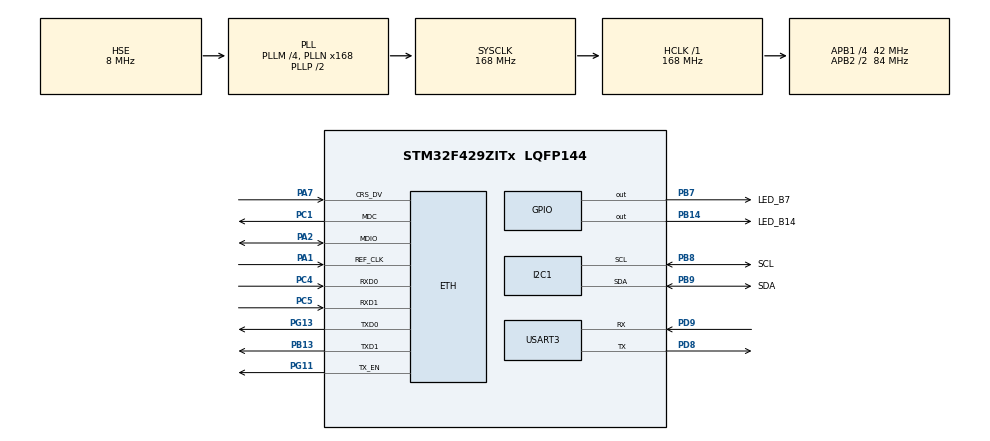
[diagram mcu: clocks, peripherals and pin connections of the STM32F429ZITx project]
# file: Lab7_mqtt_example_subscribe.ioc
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ETH.MACAddr=00\:80\:E1\:CD\:06\:AE
ETH.MediaInterface=HAL_ETH_RMII_MODE
FREERTOS.Tasks01=defaultTask,24,128,StartDefaultTask,Default,NULL,Dynamic,NULL,NULL
FREERTOS.configTOTAL_HEAP_SIZE=25360
I2C1.I2C_Mode=I2C_Fast
LWIP.BSP.number=1
LWIP.MEMP_NUM_SYS_TIMEOUT=13
LWIP.MEM_SIZE=10*1024
LWIP.Version=v2.1.2_Cube
LWIP0.BSP.STBoard=false
LWIP0.BSP.api=BSP_COMPONENT_DRIVER
LWIP0.BSP.component=LAN8742
LWIP0.BSP.instance=LAN8742
LWIP0.BSP.name=Driver_PHY
LWIP0.BSP.semaphore=S_LAN8742
LWIP0.BSP.solution=LAN8742
Mcu.Family=STM32F4
Mcu.Name=STM32F429ZITx
Mcu.Package=LQFP144
NVIC.ETH_IRQn=true\:5\:0\:false\:false\:true\:true\:false\:true\:true
NVIC.PriorityGroup=NVIC_PRIORITYGROUP_4
NVIC.TIM1_UP_TIM10_IRQn=true\:15\:0\:false\:false\:true\:false\:false\:true\:true
NVIC.TimeBase=TIM1_UP_TIM10_IRQn
NVIC.TimeBaseIP=TIM1
PA1.Mode=RMII
PA1.Signal=ETH_REF_CLK
PA13.Mode=Serial_Wire
PA13.Signal=SYS_JTMS-SWDIO
PA14.Mode=Serial_Wire
PA14.Signal=SYS_JTCK-SWCLK
PA2.Mode=RMII
PA2.Signal=ETH_MDIO
PA7.Mode=RMII
PA7.Signal=ETH_CRS_DV
PB13.Mode=RMII
PB13.Signal=ETH_TXD1
PB14.GPIO_Label=LED_B14
PB14.Signal=GPIO_Output
PB7.GPIO_Label=LED_B7
PB7.Signal=GPIO_Output
PB8.GPIO_Label=SCL
PB8.Mode=I2C
PB8.Signal=I2C1_SCL
PB9.GPIO_Label=SDA
PB9.Mode=I2C
PB9.Signal=I2C1_SDA
PC1.Mode=RMII
PC1.Signal=ETH_MDC
PC14/OSC32_IN.Mode=LSE-External-Oscillator
PC14/OSC32_IN.Signal=RCC_OSC32_IN
PC15/OSC32_OUT.Mode=LSE-External-Oscillator
PC15/OSC32_OUT.Signal=RCC_OSC32_OUT
PC4.Mode=RMII
PC4.Signal=ETH_RXD0
PC5.Mode=RMII
PC5.Signal=ETH_RXD1
PD8.Mode=Asynchronous
PD8.Signal=USART3_TX
PD9.Mode=Asynchronous
PD9.Signal=USART3_RX
PG11.Mode=RMII
PG11.Signal=ETH_TX_EN
PG13.Mode=RMII
PG13.Signal=ETH_TXD0
PH0/OSC_IN.Mode=HSE-External-Oscillator
PH0/OSC_IN.Signal=RCC_OSC_IN
PH1/OSC_OUT.Mode=HSE-External-Oscillator
PH1/OSC_OUT.Signal=RCC_OSC_OUT
ProjectManager.HeapSize=0x200
ProjectManager.StackSize=0x400
ProjectManager.TargetToolchain=MDK-ARM V5.32
RCC.48MHZClocksFreq_Value=48000000
RCC.AHBFreq_Value=168000000
RCC.APB1CLKDivider=RCC_HCLK_DIV4
RCC.APB1Freq_Value=42000000
RCC.APB1TimFreq_Value=84000000
RCC.APB2CLKDivider=RCC_HCLK_DIV2
RCC.APB2Freq_Value=84000000
RCC.APB2TimCLKDivider=2
RCC.APB2TimFreq_Value=168000000
RCC.CortexFreq_Value=168000000
RCC.HCLKFreq_Value=168000000
RCC.HSE_VALUE=8000000
RCC.HSI_VALUE=16000000
RCC.PLLM=4
RCC.PLLMUL=RCC_PLL_MUL9
RCC.PLLN=168
RCC.PLLQ=7
RCC.PLLSourceVirtual=RCC_PLLSOURCE_HSE
RCC.PRESCALERUSB=RCC_USBCLKSOURCE_PLL_DIV1_5
RCC.SYSCLKFreq_VALUE=168000000
RCC.SYSCLKSource=RCC_SYSCLKSOURCE_PLLCLK
RCC.SYSCLKSourceVirtual=RCC_SYSCLKSOURCE_PLLCLK
RCC.USBFreq_Value=48000000
RCC.VCOOutputFreq_Value=336000000
TIM2.Prescaler=83
USART3.VirtualMode=VM_ASYNC
VP_FREERTOS_VS_CMSIS_V2.Mode=CMSIS_V2
VP_LWIP_VS_Enabled.Mode=Enabled
VP_SYS_VS_tim1.Mode=TIM1
VP_TIM2_VS_ClockSourceINT.Mode=Internal
board=NUCLEO-F429ZI

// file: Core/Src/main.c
    /* USER CODE BEGIN Header */
/**
  ******************************************************************************
  * @file           : main.c
  * @brief          : Main program body
  ******************************************************************************
  * @attention
  *
  * Copyright (c) 2025 STMicroelectronics.
  * All rights reserved.
  *
  * This software is licensed under terms that can be found in the LICENSE file
  * in the root directory of this software component.
  * If no LICENSE file comes with this software, it is provided AS-IS.
  *
  ******************************************************************************
  */
/* USER CODE END Header */
#include "main.h"
#include "cmsis_os.h"
#include "i2c.h"
#include "lwip.h"
#include "tim.h"
#include "usart.h"
#include "gpio.h"

/* USER CODE BEGIN Includes */
#include "lwip/apps/mqtt.h"
#include "FreeRTOS.h"
#include "oled.h"
#include "queue.h"
#include "semphr.h"
#include "string.h"
#include "stdbool.h"
#include "task.h"
#include "u8g2.h"
/* USER CODE END Includes */

/* USER CODE BEGIN PTD */
typedef enum {
  TOPIC_TEMP = 0,
  TOPIC_HUMI = 1,
  TOPIC_LED = 2,
  TOPIC_UNKNOWN = 3
} TopicId_t;

typedef struct {
  char temp[10];
	char humi[10];
  char ledStatus[10];
} DisplayData_t;
/* USER CODE END PTD */

/* USER CODE BEGIN PV */
TopicId_t currentTopicId = TOPIC_UNKNOWN;
mqtt_client_t *mqttClient = NULL;

u8g2_t u8g2;
QueueHandle_t queueDisplayData;

SemaphoreHandle_t xSemMqttReconnect;
SemaphoreHandle_t xSemLED;
TaskHandle_t handleMQTT;
TaskHandle_t handleOLED;
TaskHandle_t handleLED;

DisplayData_t displayData = {
  .temp = "0",
	.humi = "0",
  .ledStatus = "Off"
};
/* USER CODE END PV */

void SystemClock_Config(void);
void MX_FREERTOS_Init(void);
/* USER CODE BEGIN PFP */
void mqtt_connection_cb(mqtt_client_t *client, void *arg, mqtt_connection_status_t status);
void mqtt_incoming_topic_cb(void *arg, const char *topic, u32_t tot_len);
void mqtt_incoming_data_cb(void *arg, const u8_t *data, u16_t len, u8_t flags);
void mqtt_sub_request_cb(void *arg, err_t result);

void taskMQTT(void *pvParameters);
void taskOLED(void *pvParameters);
void taskLED(void *pvParameters);
/* USER CODE END PFP */

/* USER CODE BEGIN 0 */

/*
 * MQTT Callback Functions
 */

 // Connection callback
void mqtt_connection_cb(mqtt_client_t *client, void *arg, mqtt_connection_status_t status){
  if (status == MQTT_CONNECT_ACCEPTED){
    HAL_GPIO_WritePin(LED_B7_GPIO_Port, LED_B7_Pin, GPIO_PIN_SET);
    printf("MQTT connected successfully!\r\n");

    mqtt_set_inpub_callback(client, mqtt_incoming_topic_cb, mqtt_incoming_data_cb, NULL);

    mqtt_subscribe(client, "Lab7/Temp", 0, NULL, NULL);
    mqtt_subscribe(client, "Lab7/Humi", 0, NULL, NULL);
    mqtt_subscribe(client, "Lab7/LED", 0, NULL, NULL);
  }else{
    HAL_GPIO_WritePin(LED_B7_GPIO_Port, LED_B7_Pin, GPIO_PIN_RESET);
    printf("MQTT connection failed! Error code: %d\r\n", status);

    xSemaphoreGive(xSemMqttReconnect);
  }
}

// Incoming topic callback
void mqtt_incoming_topic_cb(void *arg, const char *topic, u32_t tot_len) {
  printf("MQTT: Message received on topic: %s\r\n", topic);

  // Determine topic ID
  if (strcmp(topic, "Lab7/Temp") == 0) {
    currentTopicId = TOPIC_TEMP;
  } else if (strcmp(topic, "Lab7/Humi") == 0) {
    currentTopicId = TOPIC_HUMI;
  } else if (strcmp(topic, "Lab7/LED") == 0) {
    currentTopicId = TOPIC_LED;
  } else{
    currentTopicId = TOPIC_UNKNOWN;
  }
}

// Incoming data callback
void mqtt_incoming_data_cb(void *arg, const u8_t *data, u16_t len, u8_t flags){
  // Convert incoming data
  char receiveBuffer[len];
  memcpy(receiveBuffer, data, len);
  receiveBuffer[len] = '\0';

  printf("Received message: \"%s\"\r\n", receiveBuffer);

  // Data setting
  switch (currentTopicId){
    case TOPIC_TEMP:
      if (len <= sizeof(displayData.temp)){
        memcpy(displayData.temp, receiveBuffer, len);
        displayData.temp[len] = '\0';
      }
      break;

    case TOPIC_HUMI:
      if (len <= sizeof(displayData.humi)){
        memcpy(displayData.humi, receiveBuffer, len);
        displayData.humi[len] = '\0';

        xSemaphoreGive(xSemLED);
      }
      break;
		case TOPIC_LED:
			if (len <= sizeof(displayData.ledStatus)){
				memcpy(displayData.ledStatus, receiveBuffer, len);
				displayData.ledStatus[len] = '\0';

				xSemaphoreGive(xSemLED);
			}
      break;
    default:
      return;
  }

  xQueueSend(queueDisplayData, &displayData, NULL);
}

// Subscribe request callback
void mqtt_sub_request_cb(void *arg, err_t result){
  if (result != ERR_OK){
    printf("Subscribe result: %d\r\n", result);
  }
}

/*
 * FreeRTOS Task Functions
 */

// MQTT initial task
void taskMQTT(void *pvParameters){
  MX_LWIP_Init();

  mqttClient = mqtt_client_new();

  struct mqtt_connect_client_info_t mqtt_connect_info = {
    .client_id = "M11317045_B",
    .client_user = "raymiao",
    .client_pass = "548787",
    .keep_alive = 20,
    .will_topic = "Lab7/Last_will",
    .will_msg = "Goodbye client_B!",
    .will_qos = 0,
    .will_retain = 0
  };

	ip4_addr_t ip;
	ip = netif_default->ip_addr;
	printf("STM32 IP: %s\n", ip4addr_ntoa(&ip));

  ip_addr_t mqttBrokerAddr;
	IP_ADDR4(&mqttBrokerAddr, 140, 125, 33, 185);
  err_t connectResult;
  while(1){
    if (!mqtt_client_is_connected(mqttClient)){
      connectResult = mqtt_client_connect(mqttClient, &mqttBrokerAddr, MQTT_PORT,
                                               mqtt_connection_cb, NULL, &mqtt_connect_info);

      if (connectResult != ERR_OK){
        printf("MQTT connect returned error: %d\r\n", connectResult);
        if (connectResult == ERR_ISCONN) {
          mqtt_disconnect(mqttClient);
        }
      }
    } else{
      xSemaphoreTake(xSemMqttReconnect, portMAX_DELAY);
    }
    vTaskDelay(1000);
  }
}

// OLED display task
void taskOLED(void *pvParameters){

  u8g2_ClearBuffer(&u8g2);
  u8g2_ClearDisplay(&u8g2);
  u8g2_SetFont(&u8g2, u8g2_font_samim_12_t_all);

   u8g2_DrawStr(&u8g2, 15, 30, "Waiting...");
   u8g2_DrawStr(&u8g2, 15, 50, "MQTT Connect");
   u8g2_SendBuffer(&u8g2);
   printf("OLED Set okay");
  char displayTemp[20];
	char displayHumi[20];
  char displayLedStatus[20];

  while(1){
    xQueueReceive(queueDisplayData, &displayData, portMAX_DELAY);

    snprintf(displayTemp, sizeof(displayTemp), "Temp: %s", displayData.temp);
    snprintf(displayHumi, sizeof(displayHumi), "Humi: %s", displayData.humi);
    snprintf(displayLedStatus, sizeof(displayLedStatus), "LED: %s", displayData.ledStatus);
		if (strcmp(displayData.ledStatus, "On") == 0)
		{
			HAL_GPIO_WritePin(LED_B14_GPIO_Port, LED_B14_Pin, GPIO_PIN_SET);

		}
		else
		{
			HAL_GPIO_WritePin(LED_B14_GPIO_Port, LED_B14_Pin, GPIO_PIN_RESET);
		}

    u8g2_ClearBuffer(&u8g2);
    u8g2_DrawStr(&u8g2, 15, 30, displayTemp);
		u8g2_DrawStr(&u8g2, 15, 45, displayHumi);
    u8g2_DrawStr(&u8g2, 15, 60, displayLedStatus);
    u8g2_SendBuffer(&u8g2);
  }
}

// LED control task
void taskLED(void *pvParameters){
  HAL_GPIO_WritePin(LED_B14_GPIO_Port, LED_B14_Pin, GPIO_PIN_RESET);

  while(1){
    if (xSemaphoreTake(xSemLED, portMAX_DELAY) == pdTRUE){
      if (strcmp(displayData.ledStatus, "On") == 0) {
        HAL_GPIO_WritePin(LED_B14_GPIO_Port, LED_B14_Pin, GPIO_PIN_SET);
      } else if (strcmp(displayData.ledStatus, "Off") == 0){
        HAL_GPIO_WritePin(LED_B14_GPIO_Port, LED_B14_Pin, GPIO_PIN_RESET);
      }
    }
  }
}
/* USER CODE END 0 */

int main(void)
{

  /* MCU Configuration--------------------------------------------------------*/

  /* Reset of all peripherals, Initializes the Flash interface and the Systick. */
  HAL_Init();

  /* Configure the system clock */
  SystemClock_Config();

  /* Initialize all configured peripherals */
  MX_GPIO_Init();
  MX_USART3_UART_Init();
  MX_I2C1_Init();
  MX_TIM2_Init();
  /* USER CODE BEGIN 2 */
	HAL_GPIO_WritePin(LED_B14_GPIO_Port, LED_B14_Pin, GPIO_PIN_RESET);

	u8g2Init(&u8g2);

  xSemMqttReconnect = xSemaphoreCreateBinary();
  xSemLED = xSemaphoreCreateBinary();
  queueDisplayData = xQueueCreate(3, sizeof(DisplayData_t));

  xTaskCreate(taskMQTT, "MQTT", 1024, NULL, 3, &handleMQTT);
  xTaskCreate(taskOLED, "OLED", 256, NULL, 2, &handleOLED);
  xTaskCreate(taskLED, "LED", 256, NULL, 1, &handleLED);

   printf("B_StartScheduler \r\n");
   vTaskStartScheduler();
  /* USER CODE END 2 */

  /* Init scheduler */
  //osKernelInitialize();  /* Call init function for freertos objects (in freertos.c) */
  //MX_FREERTOS_Init();

  /* Start scheduler */
  //osKernelStart();

  /* We should never get here as control is now taken by the scheduler */
  /* Infinite loop */
  while (1)
  {

  }
}

void SystemClock_Config(void)
{
  RCC_OscInitTypeDef RCC_OscInitStruct = {0};
  RCC_ClkInitTypeDef RCC_ClkInitStruct = {0};

  /** Configure the main internal regulator output voltage
  */
  __HAL_RCC_PWR_CLK_ENABLE();
  __HAL_PWR_VOLTAGESCALING_CONFIG(PWR_REGULATOR_VOLTAGE_SCALE1);

  /** Initializes the RCC Oscillators according to the specified parameters
  * in the RCC_OscInitTypeDef structure.
  */
  RCC_OscInitStruct.OscillatorType = RCC_OSCILLATORTYPE_HSE;
  RCC_OscInitStruct.HSEState = RCC_HSE_ON;
  RCC_OscInitStruct.PLL.PLLState = RCC_PLL_ON;
  RCC_OscInitStruct.PLL.PLLSource = RCC_PLLSOURCE_HSE;
  RCC_OscInitStruct.PLL.PLLM = 4;
  RCC_OscInitStruct.PLL.PLLN = 168;
  RCC_OscInitStruct.PLL.PLLP = RCC_PLLP_DIV2;
  RCC_OscInitStruct.PLL.PLLQ = 7;
  if (HAL_RCC_OscConfig(&RCC_OscInitStruct) != HAL_OK)
  {
    Error_Handler();
  }

  /** Initializes the CPU, AHB and APB buses clocks
  */
  RCC_ClkInitStruct.ClockType = RCC_CLOCKTYPE_HCLK|RCC_CLOCKTYPE_SYSCLK
                              |RCC_CLOCKTYPE_PCLK1|RCC_CLOCKTYPE_PCLK2;
  RCC_ClkInitStruct.SYSCLKSource = RCC_SYSCLKSOURCE_PLLCLK;
  RCC_ClkInitStruct.AHBCLKDivider = RCC_SYSCLK_DIV1;
  RCC_ClkInitStruct.APB1CLKDivider = RCC_HCLK_DIV4;
  RCC_ClkInitStruct.APB2CLKDivider = RCC_HCLK_DIV2;

  if (HAL_RCC_ClockConfig(&RCC_ClkInitStruct, FLASH_LATENCY_5) != HAL_OK)
  {
    Error_Handler();
  }
}

void HAL_TIM_PeriodElapsedCallback(TIM_HandleTypeDef *htim)
{
  if (htim->Instance == TIM1) {
    HAL_IncTick();
  }
}

void Error_Handler(void)
{
  __disable_irq();
  while (1)
  {
  }
}

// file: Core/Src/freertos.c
/* USER CODE BEGIN Header */
/**
  ******************************************************************************
  * File Name          : freertos.c
  * Description        : Code for freertos applications
  ******************************************************************************
  * @attention
  *
  * Copyright (c) 2025 STMicroelectronics.
  * All rights reserved.
  *
  * This software is licensed under terms that can be found in the LICENSE file
  * in the root directory of this software component.
  * If no LICENSE file comes with this software, it is provided AS-IS.
  *
  ******************************************************************************
  */
/* USER CODE END Header */

#include "FreeRTOS.h"
#include "task.h"
#include "main.h"
#include "cmsis_os.h"

/* Definitions for defaultTask */
osThreadId_t defaultTaskHandle;
const osThreadAttr_t defaultTask_attributes = {
  .name = "defaultTask",
  .stack_size = 128 * 4,
  .priority = (osPriority_t) osPriorityNormal,
};

void StartDefaultTask(void *argument);

extern void MX_LWIP_Init(void);
void MX_FREERTOS_Init(void); /* (MISRA C 2004 rule 8.1) */

void MX_FREERTOS_Init(void) {

  /* Create the thread(s) */
  /* creation of defaultTask */
  defaultTaskHandle = osThreadNew(StartDefaultTask, NULL, &defaultTask_attributes);

}

void StartDefaultTask(void *argument)
{
  /* init code for LWIP */
  MX_LWIP_Init();
  for(;;)
  {
    osDelay(1);
  }
}
